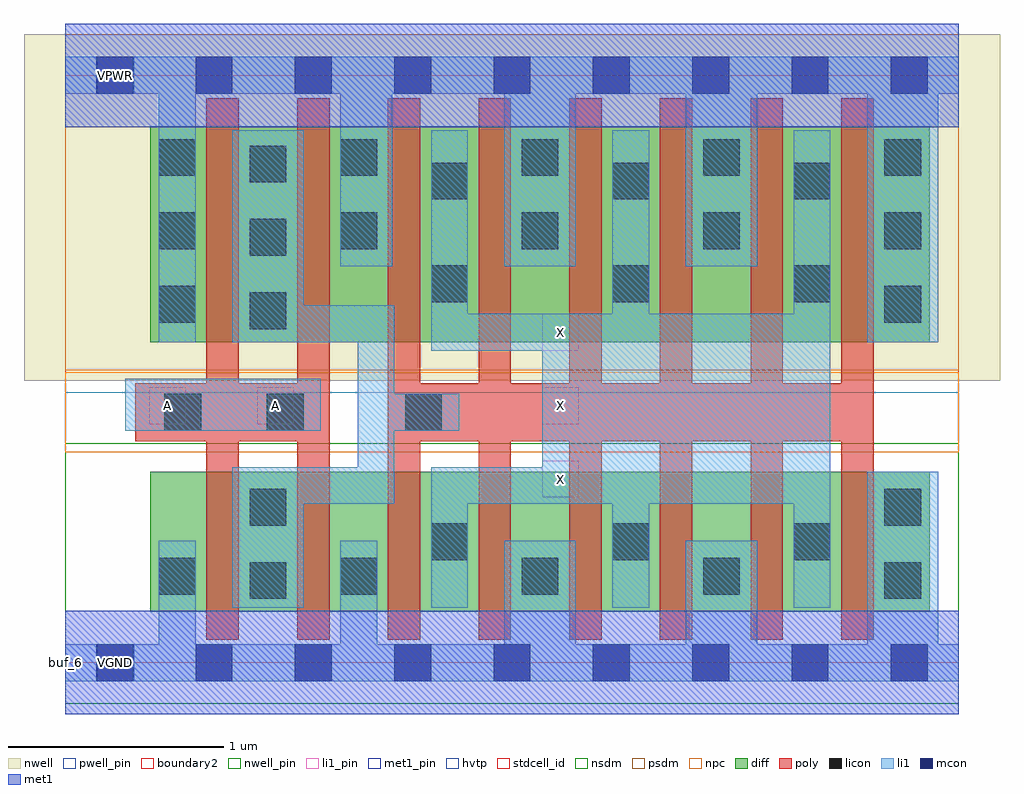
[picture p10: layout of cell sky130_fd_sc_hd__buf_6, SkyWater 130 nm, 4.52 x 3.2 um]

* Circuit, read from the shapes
.subckt sky130_fd_sc_hd__buf_6 A VGND VNB VPB VPWR X
XM1 n1 A VGND VNB sky130_fd_pr__nfet_01v8 w=0.65 l=0.15 m=2
XM2 X n1 VGND VNB sky130_fd_pr__nfet_01v8 w=0.65 l=0.15 m=6
XM3 n1 A VPWR VPB sky130_fd_pr__pfet_01v8_hvt w=1 l=0.15 m=2
XM4 X n1 VPWR VPB sky130_fd_pr__pfet_01v8_hvt w=1 l=0.15 m=6
.ends

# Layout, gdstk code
import gdstk
lib = gdstk.Library(unit=1e-6, precision=1e-09)
def R(c, l, rs):  # rectangles x0, y0, x1, y1
    for r in rs: c.add(gdstk.rectangle(r[:2], r[2:], *l))
def A(c, l, x, y, w, h, nx, ny, dx, dy):  # array of equal rectangles
    R(c, l, [(x+i*dx, y+j*dy, x+i*dx+w, y+j*dy+h) for i in range(nx) for j in range(ny)])
def P(c, l, *ps):  # polygons
    for p in ps: c.add(gdstk.Polygon(p, *l))
nwell_pin = (64, 16)
nwell = (64, 20)
diff = (65, 20)
poly = (66, 20)
licon = (66, 44)
li1_pin = (67, 16)
li1 = (67, 20)
mcon = (67, 44)
met1_pin = (68, 16)
met1 = (68, 20)
hvtp = (78, 44)
stdcell_id = (81, 4)
nsdm = (93, 44)
psdm = (94, 20)
npc = (95, 20)
pwell_pin = (122, 16)
boundary2 = (236, 0)

sky130_fd_sc_hd__buf_6 = lib.new_cell('sky130_fd_sc_hd__buf_6')
R(sky130_fd_sc_hd__buf_6, nwell_pin, [(0.15,2.635,0.32,2.805)])
R(sky130_fd_sc_hd__buf_6, nwell, [(-0.19,1.305,4.33,2.91)])
R(sky130_fd_sc_hd__buf_6, diff, [(0.395,0.235,4.005,0.885), (0.395,1.485,4.005,2.485)])
P(sky130_fd_sc_hd__buf_6, poly, [(1.225,2.615),(1.075,2.615),(1.075,1.295),(0.805,1.295),(0.805,2.615),(0.655,2.615),(0.655,1.295),(0.325,1.295),(0.325,1.025),(0.655,1.025),(0.655,0.105),(0.805,0.105),(0.805,1.025),(1.075,1.025),(1.075,0.105),(1.225,0.105)],
  [(3.745,2.615),(3.595,2.615),(3.595,1.295),(3.325,1.295),(3.325,2.615),(3.175,2.615),(3.175,1.295),(2.905,1.295),(2.905,2.615),(2.755,2.615),(2.755,1.295),(2.485,1.295),(2.485,2.615),(2.335,2.615),(2.335,1.295),(2.065,1.295),(2.065,2.615),(1.915,2.615),(1.915,1.295),(1.645,1.295),(1.645,2.615),(1.495,2.615),(1.495,0.105),(1.645,0.105),(1.645,1.025),(1.915,1.025),(1.915,0.105),(2.065,0.105),(2.065,1.025),(2.335,1.025),(2.335,0.105),(2.485,0.105),(2.485,1.025),(2.755,1.025),(2.755,0.105),(2.905,0.105),(2.905,1.025),(3.175,1.025),(3.175,0.105),(3.325,0.105),(3.325,1.025),(3.595,1.025),(3.595,0.105),(3.745,0.105)])
A(sky130_fd_sc_hd__buf_6, licon, 0.435, 0.315, 0.17, 0.17, 4, 1, 0.84, 0)
A(sky130_fd_sc_hd__buf_6, licon, 1.695, 0.475, 0.17, 0.17, 3, 2, 0.84, 1.195)
A(sky130_fd_sc_hd__buf_6, licon, 0.855, 1.545, 0.17, 0.17, 1, 3, 0, 0.34)
A(sky130_fd_sc_hd__buf_6, licon, 0.435, 1.915, 0.17, 0.17, 5, 2, 0.84, 0.34)
A(sky130_fd_sc_hd__buf_6, licon, 1.695, 2.145, 0.17, 0.17, 3, 1, 0.84, 0)
R(sky130_fd_sc_hd__buf_6, licon, [(0.855,0.295,1.025,0.465), (3.795,0.295,3.965,0.465), (0.855,0.635,1.025,0.805), (3.795,0.635,3.965,0.805), (0.46,1.075,0.63,1.245), (0.935,1.075,1.105,1.245), (1.575,1.075,1.745,1.245), (0.435,1.575,0.605,1.745), (3.795,1.575,3.965,1.745)])
A(sky130_fd_sc_hd__buf_6, li1_pin, 2.21, 0.765, 0.17, 0.17, 1, 3, 0, 0.34)
R(sky130_fd_sc_hd__buf_6, li1_pin, [(0.15,-0.085,0.32,0.085), (0.39,1.105,0.56,1.275), (0.89,1.105,1.06,1.275), (0.15,2.635,0.32,2.805)])
R(sky130_fd_sc_hd__buf_6, li1, [(0.28,1.075,1.185,1.315)])
P(sky130_fd_sc_hd__buf_6, li1, [(1.825,1.245),(1.525,1.245),(1.525,1.655),(1.105,1.655),(1.105,2.465),(0.775,2.465),(0.775,1.485),(1.355,1.485),(1.355,0.905),(0.775,0.905),(0.775,0.255),(1.105,0.255),(1.105,0.735),(1.525,0.735),(1.525,1.075),(1.825,1.075)],
  [(3.545,2.465),(3.375,2.465),(3.375,1.615),(2.705,1.615),(2.705,2.465),(2.535,2.465),(2.535,1.615),(1.865,1.615),(1.865,2.465),(1.695,2.465),(1.695,1.445),(2.21,1.445),(2.21,0.905),(1.695,0.905),(1.695,0.255),(1.865,0.255),(1.865,0.735),(2.535,0.735),(2.535,0.255),(2.705,0.255),(2.705,0.735),(3.375,0.735),(3.375,0.255),(3.545,0.255)],
  [(4.14,0.085),(4.045,0.085),(4.045,0.885),(3.715,0.885),(3.715,0.085),(3.205,0.085),(3.205,0.565),(2.875,0.565),(2.875,0.085),(2.365,0.085),(2.365,0.565),(2.035,0.565),(2.035,0.085),(1.445,0.085),(1.445,0.565),(1.275,0.565),(1.275,0.085),(0.605,0.085),(0.605,0.565),(0.435,0.565),(0.435,0.085),(0,0.085),(0,-0.085),(4.14,-0.085)],
  [(4.14,2.805),(0,2.805),(0,2.635),(0.435,2.635),(0.435,1.485),(0.605,1.485),(0.605,2.635),(1.275,2.635),(1.275,1.835),(1.515,1.835),(1.515,2.635),(2.035,2.635),(2.035,1.835),(2.365,1.835),(2.365,2.635),(2.875,2.635),(2.875,1.835),(3.205,1.835),(3.205,2.635),(3.715,2.635),(3.715,1.485),(4.045,1.485),(4.045,2.635),(4.14,2.635)])
A(sky130_fd_sc_hd__buf_6, mcon, 0.145, -0.085, 0.17, 0.17, 9, 2, 0.46, 2.72)
R(sky130_fd_sc_hd__buf_6, met1_pin, [(0.15,-0.085,0.32,0.085), (0.15,2.635,0.32,2.805)])
R(sky130_fd_sc_hd__buf_6, hvtp, [(0,1.25,4.14,2.72)])
R(sky130_fd_sc_hd__buf_6, stdcell_id, [(0,0,4.14,2.72)])
R(sky130_fd_sc_hd__buf_6, nsdm, [(0,-0.19,4.14,1.015)])
R(sky130_fd_sc_hd__buf_6, psdm, [(0,1.355,4.14,2.91)])
R(sky130_fd_sc_hd__buf_6, npc, [(0,0.975,4.14,1.345)])
R(sky130_fd_sc_hd__buf_6, pwell_pin, [(0.15,-0.085,0.32,0.085)])
R(sky130_fd_sc_hd__buf_6, boundary2, [(0,0,4.14,2.72)])
sky130_fd_sc_hd__buf_6.add(gdstk.FlexPath([(0,0),(4.14,0)], 0.48, ends="flush", simple_path=True, layer=68, datatype=20))  # met1
sky130_fd_sc_hd__buf_6.add(gdstk.FlexPath([(0,2.72),(4.14,2.72)], 0.48, ends="flush", simple_path=True, layer=68, datatype=20))  # met1
sky130_fd_sc_hd__buf_6.add(gdstk.Label('VPWR', (0.235,2.72), layer=68, texttype=5))
sky130_fd_sc_hd__buf_6.add(gdstk.Label('VGND', (0.235,0), layer=68, texttype=5))
sky130_fd_sc_hd__buf_6.add(gdstk.Label('X', (2.295,1.19), layer=67, texttype=5))
sky130_fd_sc_hd__buf_6.add(gdstk.Label('X', (2.295,1.53), layer=67, texttype=5))
sky130_fd_sc_hd__buf_6.add(gdstk.Label('X', (2.295,0.85), layer=67, texttype=5))
sky130_fd_sc_hd__buf_6.add(gdstk.Label('VPWR', (0.235,2.72), layer=67, texttype=5))
sky130_fd_sc_hd__buf_6.add(gdstk.Label('VGND', (0.235,0), layer=67, texttype=5))
sky130_fd_sc_hd__buf_6.add(gdstk.Label('A', (0.975,1.19), layer=67, texttype=5))
sky130_fd_sc_hd__buf_6.add(gdstk.Label('A', (0.475,1.19), layer=67, texttype=5))
sky130_fd_sc_hd__buf_6.add(gdstk.Label('VPB', (0.235,2.72), layer=64, texttype=5))
sky130_fd_sc_hd__buf_6.add(gdstk.Label('VNB', (0.235,0), layer=64, texttype=59))
sky130_fd_sc_hd__buf_6.add(gdstk.Label('buf_6', (0,0), layer=83, texttype=44))

lib.write_gds('sky130_fd_sc_hd__buf_6.gds')
